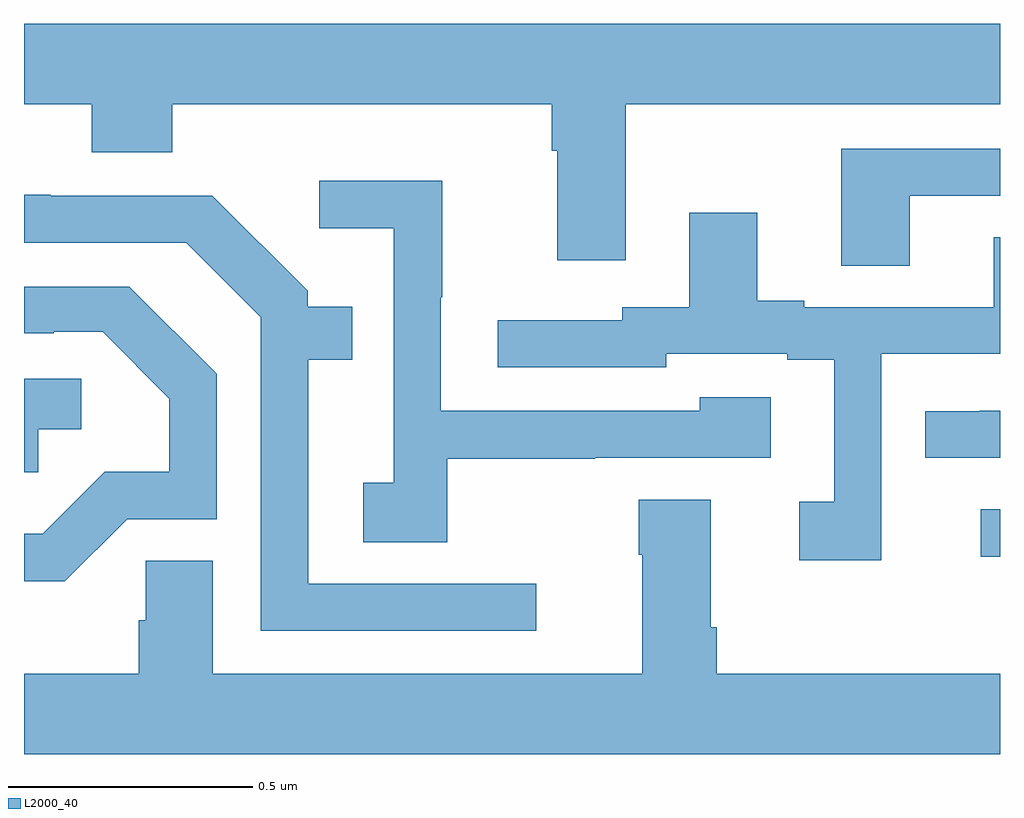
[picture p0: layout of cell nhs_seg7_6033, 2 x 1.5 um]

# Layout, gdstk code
import gdstk
lib = gdstk.Library(unit=1e-6, precision=1e-09)
def R(c, l, rs):  # rectangles x0, y0, x1, y1
    for r in rs: c.add(gdstk.rectangle(r[:2], r[2:], *l))
def P(c, l, *ps):  # polygons
    for p in ps: c.add(gdstk.Polygon(p, *l))
L2000_40 = (2000, 40)

nhs_seg7_6033 = lib.new_cell('nhs_seg7_6033')
R(nhs_seg7_6033, L2000_40, [(194.961,1027.66,195,1027.758)])
P(nhs_seg7_6033, L2000_40, [(194.233,1028.588),(195,1028.588),(195,1028.752),(193,1028.752),(193,1028.588),(193.139,1028.588),(193.139,1028.489),(193.304,1028.489),(193.304,1028.588),(194.081,1028.588),(194.081,1028.492),(194.093,1028.492),(194.093,1028.268),(194.233,1028.268)],
  [(194.815,1028.4),(195,1028.4),(195,1028.496),(194.675,1028.496),(194.675,1028.257),(194.815,1028.257)],
  [(193.867,1027.861),(194.171,1027.861),(194.171,1027.863),(194.53,1027.863),(194.53,1027.987),(194.385,1027.987),(194.385,1027.959),(193.854,1027.959),(193.854,1028.192),(193.857,1028.192),(193.857,1028.431),(193.605,1028.431),(193.605,1028.333),(193.758,1028.333),(193.758,1027.812),(193.695,1027.812),(193.695,1027.69),(193.867,1027.69)],
  [(194.05,1027.605),(193.582,1027.605),(193.582,1028.064),(193.673,1028.064),(193.673,1028.173),(193.581,1028.173),(193.581,1028.205),(193.386,1028.4),(193.055,1028.4),(193.055,1028.402),(193,1028.402),(193,1028.304),(193.332,1028.304),(193.485,1028.151),(193.485,1027.509),(194.05,1027.509)],
  [(194.757,1028.076),(195,1028.076),(195,1028.315),(194.987,1028.315),(194.987,1028.172),(194.599,1028.172),(194.599,1028.185),(194.503,1028.185),(194.503,1028.365),(194.363,1028.365),(194.363,1028.172),(194.226,1028.172),(194.226,1028.145),(193.971,1028.145),(193.971,1028.049),(194.316,1028.049),(194.316,1028.076),(194.564,1028.076),(194.564,1028.064),(194.66,1028.064),(194.66,1027.773),(194.589,1027.773),(194.589,1027.653),(194.757,1027.653)],
  [(193.212,1027.737),(193.395,1027.737),(193.395,1028.035),(193.216,1028.214),(193,1028.214),(193,1028.118),(193.061,1028.118),(193.061,1028.121),(193.161,1028.121),(193.298,1027.984),(193.298,1027.834),(193.165,1027.834),(193.038,1027.707),(193,1027.707),(193,1027.61),(193.084,1027.61)],
  [(193.029,1027.922),(193.117,1027.922),(193.117,1028.025),(193,1028.025),(193,1027.833),(193.029,1027.833)],
  [(195,1027.959),(194.959,1027.959),(194.959,1027.958),(194.847,1027.958),(194.847,1027.863),(195,1027.863)],
  [(195,1027.42),(194.42,1027.42),(194.42,1027.516),(194.407,1027.516),(194.407,1027.777),(194.26,1027.777),(194.26,1027.664),(194.267,1027.664),(194.267,1027.42),(193.387,1027.42),(193.387,1027.652),(193.249,1027.652),(193.249,1027.53),(193.235,1027.53),(193.235,1027.42),(193,1027.42),(193,1027.256),(195,1027.256)])

lib.write_gds('nhs_seg7_6033.gds')
